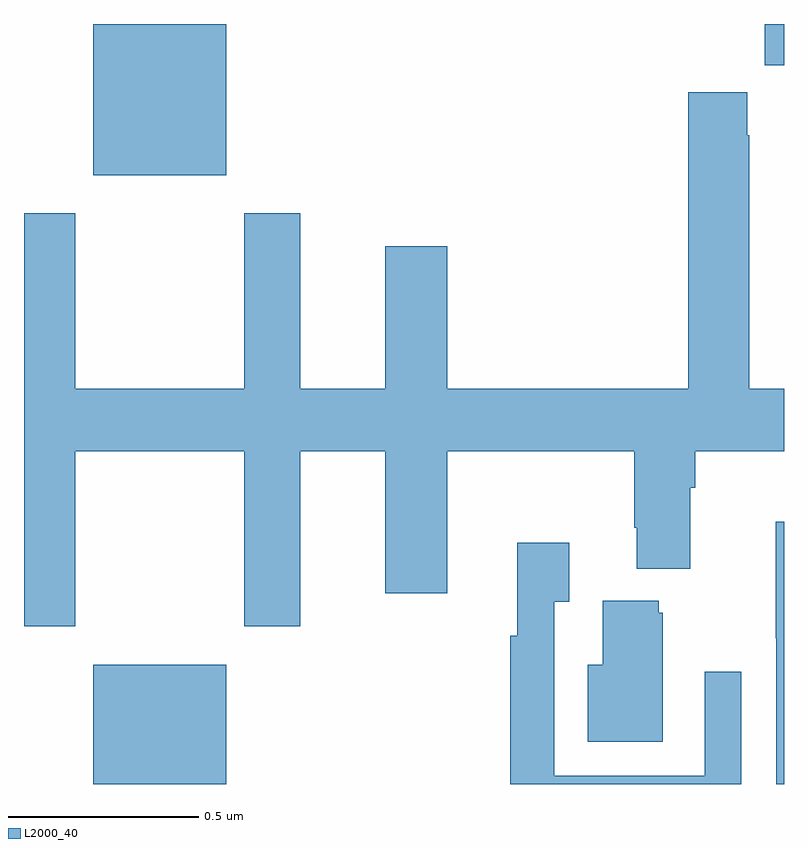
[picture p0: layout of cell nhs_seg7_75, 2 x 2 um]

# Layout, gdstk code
import gdstk
lib = gdstk.Library(unit=1e-6, precision=1e-09)
def R(c, l, rs):  # rectangles x0, y0, x1, y1
    for r in rs: c.add(gdstk.rectangle(r[:2], r[2:], *l))
def P(c, l, *ps):  # polygons
    for p in ps: c.add(gdstk.Polygon(p, *l))
L2000_40 = (2000, 40)

nhs_seg7_75 = lib.new_cell('nhs_seg7_75')
R(nhs_seg7_75, L2000_40, [(111.182,1073,111.532,1073.314), (111.182,1074.602,111.532,1075), (112.949,1074.891,113,1075)])
P(nhs_seg7_75, L2000_40, [(111.135,1073.876),(111.58,1073.876),(111.58,1073.415),(111.727,1073.415),(111.727,1073.876),(111.95,1073.876),(111.95,1073.502),(112.114,1073.502),(112.114,1073.876),(112.606,1073.876),(112.606,1073.674),(112.613,1073.674),(112.613,1073.567),(112.753,1073.567),(112.753,1073.78),(112.766,1073.78),(112.766,1073.876),(113,1073.876),(113,1074.04),(112.908,1074.04),(112.908,1074.707),(112.903,1074.707),(112.903,1074.82),(112.748,1074.82),(112.748,1074.04),(112.114,1074.04),(112.114,1074.415),(111.95,1074.415),(111.95,1074.04),(111.727,1074.04),(111.727,1074.502),(111.58,1074.502),(111.58,1074.04),(111.135,1074.04),(111.135,1074.502),(111,1074.502),(111,1073.415),(111.135,1073.415)],
  [(113,1073.69),(112.978,1073.69),(112.978,1073.383),(112.98,1073.383),(112.98,1073),(113,1073)],
  [(112.887,1073.296),(112.791,1073.296),(112.791,1073.022),(112.395,1073.022),(112.395,1073.479),(112.435,1073.479),(112.435,1073.635),(112.298,1073.635),(112.298,1073.39),(112.279,1073.39),(112.279,1073),(112.887,1073)],
  [(112.681,1073.451),(112.67,1073.451),(112.67,1073.482),(112.523,1073.482),(112.523,1073.314),(112.484,1073.314),(112.484,1073.111),(112.681,1073.111)])

lib.write_gds('nhs_seg7_75.gds')
